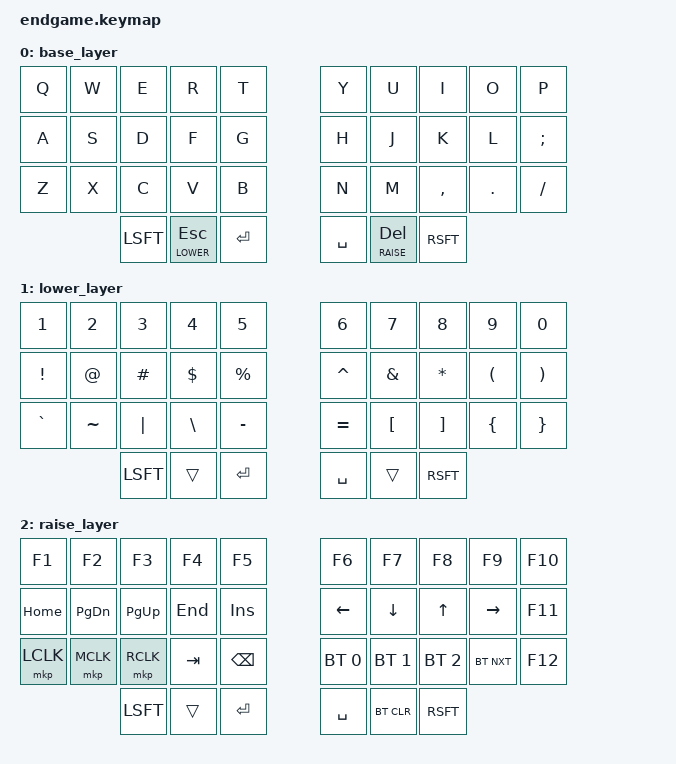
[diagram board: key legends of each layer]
#include <behaviors.dtsi>
#include <dt-bindings/zmk/keys.h>
#include <dt-bindings/zmk/bt.h>
#include <dt-bindings/zmk/pointing.h>

#define BASE 0
#define LOWER 1
#define RAISE 2

/ {
    keymap {
        compatible = "zmk,keymap";

        base_layer {
            bindings = <
                &kp Q    &kp W    &kp E    &kp R    &kp T                 &kp Y    &kp U    &kp I      &kp O    &kp P
                &kp A    &kp S    &kp D    &kp F    &kp G                 &kp H    &kp J    &kp K      &kp L    &kp SCLN
                &kp Z    &kp X    &kp C    &kp V    &kp B                 &kp N    &kp M    &kp COMMA  &kp DOT  &kp FSLH
                &kp LSFT                   &lt LOWER ESC &kp RET           &kp SPACE &lt RAISE DEL             &kp RSFT
            >;
        };

        lower_layer {
            bindings = <
                &kp N1    &kp N2    &kp N3    &kp N4    &kp N5               &kp N6    &kp N7    &kp N8    &kp N9    &kp N0
                &kp EXCL  &kp AT    &kp HASH  &kp DLLR  &kp PRCNT             &kp CARET &kp AMPS  &kp ASTRK &kp LPAR  &kp RPAR
                &kp GRAVE &kp TILDE &kp PIPE  &kp BSLH  &kp MINUS             &kp EQUAL &kp LBKT  &kp RBKT  &kp LBRC  &kp RBRC
                &kp LSFT                   &trans      &kp RET               &kp SPACE &trans                  &kp RSFT
            >;
        };

        /* Holding Raise also turns the touchpad into a scroll surface
         * (see endgame.overlay); the left hand gets mouse buttons. */
        raise_layer {
            bindings = <
                &kp F1    &kp F2    &kp F3    &kp F4    &kp F5               &kp F6    &kp F7    &kp F8    &kp F9    &kp F10
                &kp HOME  &kp PG_DN &kp PG_UP &kp END   &kp INS              &kp LEFT  &kp DOWN  &kp UP    &kp RIGHT &kp F11
                &mkp LCLK &mkp MCLK &mkp RCLK &kp TAB   &kp BSPC             &bt BT_SEL 0 &bt BT_SEL 1 &bt BT_SEL 2 &bt BT_NXT &kp F12
                &kp LSFT                   &trans      &kp RET               &kp SPACE &bt BT_CLR               &kp RSFT
            >;
        };
    };
};
